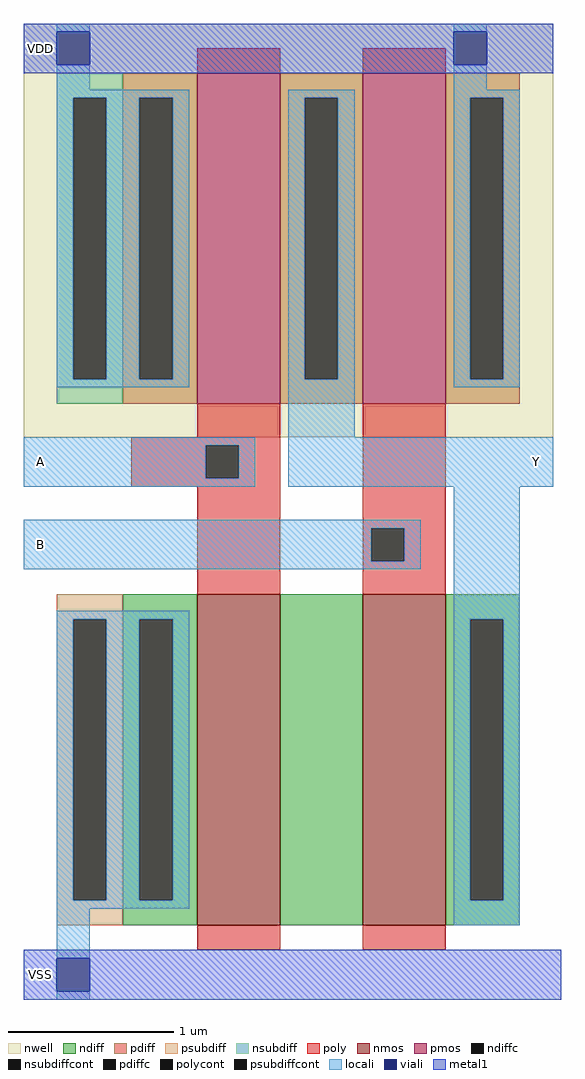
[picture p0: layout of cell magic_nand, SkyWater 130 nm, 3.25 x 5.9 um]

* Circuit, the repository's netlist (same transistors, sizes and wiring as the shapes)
* NGSPICE file created from magic_nand.ext - technology: sky130A

.subckt magic_nand A B Y VDD VSS
X0 Y A VDD VDD sky130_fd_pr__pfet_01v8 ad=0.5 pd=2.5 as=0.9 ps=4.9 w=2 l=0.5
X1 Y B a_100_n230# VSS sky130_fd_pr__nfet_01v8 ad=0.9 pd=4.9 as=0.5 ps=2.5 w=2 l=0.5
X2 a_100_n230# A VSS VSS sky130_fd_pr__nfet_01v8 ad=0.5 pd=2.5 as=0.9 ps=4.9 w=2 l=0.5
X3 VDD B Y VDD sky130_fd_pr__pfet_01v8 ad=0.9 pd=4.9 as=0.5 ps=2.5 w=2 l=0.5
.ends

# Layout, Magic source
magic
tech sky130A
<< nwell >>
rect -105 180 215 430
<< nmos >>
rect 0 -115 50 85
rect 100 -115 150 85
<< pmos >>
rect 0 200 50 400
rect 100 200 150 400
<< ndiff >>
rect -45 70 0 85
rect -45 -100 -35 70
rect -15 -100 0 70
rect -45 -115 0 -100
rect 50 -115 100 85
rect 150 70 195 85
rect 150 -100 165 70
rect 185 -100 195 70
rect 150 -115 195 -100
<< pdiff >>
rect -45 385 0 400
rect -45 215 -35 385
rect -15 215 0 385
rect -45 200 0 215
rect 50 385 100 400
rect 50 215 65 385
rect 85 215 100 385
rect 50 200 100 215
rect 150 385 195 400
rect 150 215 165 385
rect 185 215 195 385
rect 150 200 195 215
<< ndiffc >>
rect -35 -100 -15 70
rect 165 -100 185 70
<< pdiffc >>
rect -35 215 -15 385
rect 65 215 85 385
rect 165 215 185 385
<< psubdiff >>
rect -85 70 -45 85
rect -85 -100 -75 70
rect -55 -100 -45 70
rect -85 -115 -45 -100
<< nsubdiff >>
rect -85 385 -45 400
rect -85 215 -75 385
rect -55 215 -45 385
rect -85 200 -45 215
<< psubdiffcont >>
rect -75 -100 -55 70
<< nsubdiffcont >>
rect -75 215 -55 385
<< poly >>
rect 0 400 50 415
rect 100 400 150 415
rect 0 180 50 200
rect -40 175 50 180
rect -40 155 5 175
rect 25 155 50 175
rect -40 150 50 155
rect 0 85 50 150
rect 100 125 150 200
rect 100 105 105 125
rect 125 105 150 125
rect 100 85 150 105
rect 0 -130 50 -115
rect 100 -130 150 -115
<< polycont >>
rect 5 155 25 175
rect 105 105 125 125
<< locali >>
rect -85 425 -65 430
rect -85 390 -65 405
rect 155 425 175 430
rect 155 390 175 405
rect -85 385 -5 390
rect -85 215 -75 385
rect -55 215 -35 385
rect -15 215 -5 385
rect -85 210 -5 215
rect 55 385 95 390
rect 55 215 65 385
rect 85 215 95 385
rect 55 180 95 215
rect 155 385 195 390
rect 155 215 165 385
rect 185 215 195 385
rect 155 210 195 215
rect -105 175 35 180
rect -105 155 5 175
rect 25 155 35 175
rect -105 150 35 155
rect 55 150 215 180
rect -105 125 135 130
rect -105 105 105 125
rect 125 105 135 125
rect -105 100 135 105
rect -85 70 -5 75
rect -85 -100 -75 70
rect -55 -100 -35 70
rect -15 -100 -5 70
rect -85 -105 -5 -100
rect 155 70 195 150
rect 155 -100 165 70
rect 185 -100 195 70
rect -85 -135 -65 -105
rect 155 -115 195 -100
rect -85 -160 -65 -155
<< viali >>
rect -85 405 -65 425
rect 155 405 175 425
rect -85 -155 -65 -135
<< metal1 >>
rect -105 425 215 430
rect -105 405 -85 425
rect -65 405 155 425
rect 175 405 215 425
rect -105 400 215 405
rect -105 -135 220 -130
rect -105 -155 -85 -135
rect -65 -155 220 -135
rect -105 -160 220 -155
<< labels >>
rlabel locali -105 150 -85 180 7 A
port 1 w
rlabel locali -105 100 -85 130 7 B
port 2 w
rlabel locali 195 150 215 180 3 Y
port 3 e
rlabel metal1 -105 400 -85 430 7 VDD
port 4 w
rlabel metal1 -105 -160 -85 -130 7 VSS
port 5 w
<< end >>
